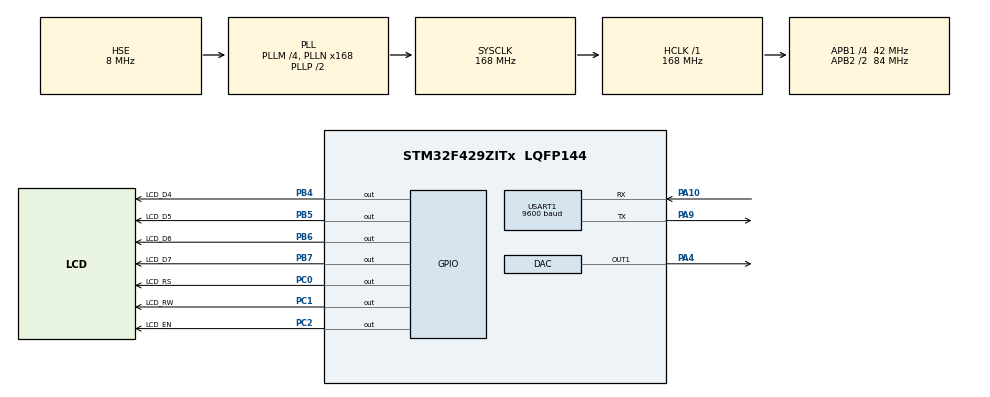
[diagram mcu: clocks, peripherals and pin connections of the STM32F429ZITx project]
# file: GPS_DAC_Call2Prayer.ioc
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DAC.DAC_Trigger=DAC_TRIGGER_T2_TRGO
Dma.DAC1.0.Direction=DMA_MEMORY_TO_PERIPH
Dma.DAC1.0.FIFOMode=DMA_FIFOMODE_DISABLE
Dma.DAC1.0.Instance=DMA1_Stream5
Dma.DAC1.0.MemDataAlignment=DMA_MDATAALIGN_HALFWORD
Dma.DAC1.0.MemInc=DMA_MINC_ENABLE
Dma.DAC1.0.Mode=DMA_NORMAL
Dma.DAC1.0.PeriphDataAlignment=DMA_PDATAALIGN_HALFWORD
Dma.DAC1.0.PeriphInc=DMA_PINC_DISABLE
Dma.DAC1.0.Priority=DMA_PRIORITY_LOW
Dma.Request0=DAC1
Dma.Request1=USART1_RX
Dma.USART1_RX.1.Direction=DMA_PERIPH_TO_MEMORY
Dma.USART1_RX.1.FIFOMode=DMA_FIFOMODE_DISABLE
Dma.USART1_RX.1.Instance=DMA2_Stream2
Dma.USART1_RX.1.MemDataAlignment=DMA_MDATAALIGN_BYTE
Dma.USART1_RX.1.MemInc=DMA_MINC_ENABLE
Dma.USART1_RX.1.Mode=DMA_CIRCULAR
Dma.USART1_RX.1.PeriphDataAlignment=DMA_PDATAALIGN_BYTE
Dma.USART1_RX.1.PeriphInc=DMA_PINC_DISABLE
Dma.USART1_RX.1.Priority=DMA_PRIORITY_LOW
Mcu.Family=STM32F4
Mcu.Name=STM32F429ZITx
Mcu.Package=LQFP144
NVIC.DMA1_Stream5_IRQn=true\:0\:0\:false\:false\:true\:false\:true\:true
NVIC.DMA2_Stream2_IRQn=true\:0\:0\:false\:false\:true\:false\:true\:true
NVIC.PriorityGroup=NVIC_PRIORITYGROUP_4
PA10.Mode=Asynchronous
PA10.Signal=USART1_RX
PA13.Mode=Serial_Wire
PA13.Signal=SYS_JTMS-SWDIO
PA14.Mode=Serial_Wire
PA14.Signal=SYS_JTCK-SWCLK
PA4.Signal=COMP_DAC1_group
PA9.Mode=Asynchronous
PA9.Signal=USART1_TX
PB4.GPIO_Label=LCD_D4
PB4.Signal=GPIO_Output
PB5.GPIO_Label=LCD_D5
PB5.Signal=GPIO_Output
PB6.GPIO_Label=LCD_D6
PB6.Signal=GPIO_Output
PB7.GPIO_Label=LCD_D7
PB7.Signal=GPIO_Output
PC0.GPIO_Label=LCD_RS
PC0.Signal=GPIO_Output
PC1.GPIO_Label=LCD_RW
PC1.Signal=GPIO_Output
PC2.GPIO_Label=LCD_EN
PC2.Signal=GPIO_Output
PH0/OSC_IN.Mode=HSE-External-Oscillator
PH0/OSC_IN.Signal=RCC_OSC_IN
PH1/OSC_OUT.Mode=HSE-External-Oscillator
PH1/OSC_OUT.Signal=RCC_OSC_OUT
ProjectManager.HeapSize=0x200
ProjectManager.StackSize=0x400
ProjectManager.TargetToolchain=MDK-ARM V5.32
RCC.48MHZClocksFreq_Value=84000000
RCC.AHBFreq_Value=168000000
RCC.APB1CLKDivider=RCC_HCLK_DIV4
RCC.APB1Freq_Value=42000000
RCC.APB1TimFreq_Value=84000000
RCC.APB2CLKDivider=RCC_HCLK_DIV2
RCC.APB2Freq_Value=84000000
RCC.APB2TimFreq_Value=168000000
RCC.CortexFreq_Value=168000000
RCC.HCLKFreq_Value=168000000
RCC.HSE_VALUE=8000000
RCC.HSI_VALUE=16000000
RCC.LSE_VALUE=32768
RCC.PLLM=4
RCC.PLLN=168
RCC.PLLSourceVirtual=RCC_PLLSOURCE_HSE
RCC.RCC_RTC_Clock_Source=RCC_RTCCLKSOURCE_LSI
RCC.RCC_RTC_Clock_SourceVirtual=RCC_RTCCLKSOURCE_LSE
RCC.SYSCLKFreq_VALUE=168000000
RCC.SYSCLKSource=RCC_SYSCLKSOURCE_PLLCLK
RCC.VCOOutputFreq_Value=336000000
RTC.Date=26
RTC.Format=RTC_FORMAT_BIN
RTC.Hours=5
RTC.Minutes=11
RTC.Month=RTC_MONTH_FEBRUARY
RTC.Seconds=58
RTC.Year=24
SH.COMP_DAC1_group.0=DAC_OUT1,DAC_OUT1
TIM2.Period=125-1
TIM2.Prescaler=84-1
TIM2.TIM_MasterOutputTrigger=TIM_TRGO_UPDATE
USART1.BaudRate=9600
USART1.VirtualMode=VM_ASYNC
VP_RTC_VS_RTC_Activate.Mode=RTC_Enabled
VP_RTC_VS_RTC_Calendar.Mode=RTC_Calendar
VP_TIM2_VS_ClockSourceINT.Mode=Internal
board=custom

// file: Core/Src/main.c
/* USER CODE BEGIN Header */
/**
  ******************************************************************************
  * @file           : main.c
  * @brief          : Main program body
  ******************************************************************************
  * @attention
  *
  * Copyright (c) 2024 STMicroelectronics.
  * All rights reserved.
  *
  * This software is licensed under terms that can be found in the LICENSE file
  * in the root directory of this software component.
  * If no LICENSE file comes with this software, it is provided AS-IS.
  *
  ******************************************************************************
  */
/* USER CODE END Header */
#include "main.h"
#include "dac.h"
#include "dma.h"
#include "rtc.h"
#include "tim.h"
#include "usart.h"
#include "gpio.h"

/* USER CODE BEGIN Includes */

#include "LCD/lcd.h"
#include "GPS/GPS_RingBuff.h"
#include "DAC/DAC_LIB.h"
#include "PrayTimes/PrayTimes.h"

/* USER CODE END Includes */

/* USER CODE BEGIN PTD */

typedef enum{
	INIT_MENU,
	LOAD_MENU,
	HOME_MENU,
}menu_t;

/* USER CODE END PTD */

/* USER CODE BEGIN PV */

RTC_TimeTypeDef rtcTime;
RTC_DateTypeDef rtcDate;

menu_t menu = INIT_MENU;
uint8_t i = 0;

/* USER CODE END PV */

void SystemClock_Config(void);
/* USER CODE BEGIN PFP */

void InitFunc(void);
void LoadFunc(void);
void HomeFunc(void);

/* USER CODE END PFP */

int main(void)
{

  /* MCU Configuration--------------------------------------------------------*/

  /* Reset of all peripherals, Initializes the Flash interface and the Systick. */
  HAL_Init();

  /* Configure the system clock */
  SystemClock_Config();

  /* Initialize all configured peripherals */
  MX_GPIO_Init();
  MX_DMA_Init();
  MX_DAC_Init();
  MX_TIM2_Init();
  MX_USART1_UART_Init();
  MX_RTC_Init();

  /* Infinite loop */
  /* USER CODE BEGIN WHILE */
  while (1)
  {
		switch(menu)
		{
			case INIT_MENU:
			{
				InitFunc();
			}break;
			case LOAD_MENU:
			{
				LoadFunc();
			}break;
			case HOME_MENU:
			{
				HomeFunc();
			}break;
		}
    /* USER CODE END WHILE */

  }
}

void SystemClock_Config(void)
{
  RCC_OscInitTypeDef RCC_OscInitStruct = {0};
  RCC_ClkInitTypeDef RCC_ClkInitStruct = {0};

  /** Configure the main internal regulator output voltage
  */
  __HAL_RCC_PWR_CLK_ENABLE();
  __HAL_PWR_VOLTAGESCALING_CONFIG(PWR_REGULATOR_VOLTAGE_SCALE1);

  /** Initializes the RCC Oscillators according to the specified parameters
  * in the RCC_OscInitTypeDef structure.
  */
  RCC_OscInitStruct.OscillatorType = RCC_OSCILLATORTYPE_LSI|RCC_OSCILLATORTYPE_HSE;
  RCC_OscInitStruct.HSEState = RCC_HSE_ON;
  RCC_OscInitStruct.LSIState = RCC_LSI_ON;
  RCC_OscInitStruct.PLL.PLLState = RCC_PLL_ON;
  RCC_OscInitStruct.PLL.PLLSource = RCC_PLLSOURCE_HSE;
  RCC_OscInitStruct.PLL.PLLM = 4;
  RCC_OscInitStruct.PLL.PLLN = 168;
  RCC_OscInitStruct.PLL.PLLP = RCC_PLLP_DIV2;
  RCC_OscInitStruct.PLL.PLLQ = 4;
  if (HAL_RCC_OscConfig(&RCC_OscInitStruct) != HAL_OK)
  {
    Error_Handler();
  }

  /** Initializes the CPU, AHB and APB buses clocks
  */
  RCC_ClkInitStruct.ClockType = RCC_CLOCKTYPE_HCLK|RCC_CLOCKTYPE_SYSCLK
                              |RCC_CLOCKTYPE_PCLK1|RCC_CLOCKTYPE_PCLK2;
  RCC_ClkInitStruct.SYSCLKSource = RCC_SYSCLKSOURCE_PLLCLK;
  RCC_ClkInitStruct.AHBCLKDivider = RCC_SYSCLK_DIV1;
  RCC_ClkInitStruct.APB1CLKDivider = RCC_HCLK_DIV4;
  RCC_ClkInitStruct.APB2CLKDivider = RCC_HCLK_DIV2;

  if (HAL_RCC_ClockConfig(&RCC_ClkInitStruct, FLASH_LATENCY_5) != HAL_OK)
  {
    Error_Handler();
  }
}

/* USER CODE BEGIN 4 */

void InitFunc(void)
{
	lcd_init();
	lcd_clear();
	lcd_gotoxy(0, 0);
	lcd_puts("  Diba Digital  ");
	lcd_gotoxy(0, 1);
	lcd_puts(" Call to prayer ");
	HAL_Delay(2000);

	Index_Max_Prayer = (uint32_t)(prayer_35_LEN / 65535);

	HAL_UART_Receive_DMA(&huart1, rxBuf, rxBuf_Len);
	init_prayer_times();

	menu = LOAD_MENU;
	lcd_clear();
}

void LoadFunc(void)
{
	uint32_t nowTime, Time;
	nowTime = HAL_GetTick();
	if(nowTime >= gps_lastTime)
		Time = nowTime - gps_lastTime;
	else
		Time = (UINT32_MAX - gps_lastTime) + nowTime;

	if(Time >= 100) //100ms
	{
		gps_lastTime = nowTime;
		GPS_CheckBytes();
	}
	if(FLAG_LOAD_GPS == 1)
	{
		FLAG_LOAD_GPS = 0;
		menu = HOME_MENU;
		lcd_clear();
	}
}

int8_t FindIdxPrayTimes(int i)
{
	if(rtcTime.Hours < praytimes[i].Hour)
	{
		return 1;
	}
	else if(rtcTime.Hours == praytimes[i].Hour)
	{
		if(rtcTime.Minutes < praytimes[i].Minute)
		{
			return 1;
		}
		else if(rtcTime.Minutes == praytimes[i].Minute)
		{
			if(rtcTime.Seconds <= praytimes[i].Second)
			{
				if(rtcTime.Seconds == praytimes[i].Second)
					FLAG_PRAYER = 1;
				return 1;
			}
		}
	}
	return 0;
}

void HomeFunc(void)
{
	char str_time_ds[20], str_praytimes[20];

	HAL_RTC_GetTime(&hrtc, &rtcTime, RTC_FORMAT_BIN);
	HAL_RTC_GetDate(&hrtc, &rtcDate, RTC_FORMAT_BIN);
	//DS3231_GetTime();
	lcd_gotoxy(0, 0);
	sprintf(str_time_ds, "%02d:%02d:%02d", rtcTime.Hours, rtcTime.Minutes, rtcTime.Seconds);
	lcd_puts(str_time_ds);

	if(FLAG_PRAYER == 0)
	{
		if(FindIdxPrayTimes(0))
		{
			i = 0;
		}
		else if(FindIdxPrayTimes(2))
		{
			i = 2;
		}
		else if(FindIdxPrayTimes(5))
		{
			i = 5;
		}
		else
		{
			i = 0;
		}

		lcd_gotoxy(0, 1);
		sprintf(str_praytimes, "%02d:%02d:%02d", praytimes[i].Hour, praytimes[i].Minute, praytimes[i].Second);
		lcd_puts(str_praytimes);
	}
	else if(FLAG_PRAYER == 1)
	{
		FLAG_PRAYER = 2; //play
		HAL_DAC_Start_DMA(&hdac, DAC_CHANNEL_1, (uint32_t *)&prayer_35[idx_music*65536], 65535, DAC_ALIGN_12B_R);
		HAL_TIM_Base_Start(&htim2);
	}
}

/* USER CODE END 4 */

void Error_Handler(void)
{
  __disable_irq();
  while (1)
  {
  }
}
